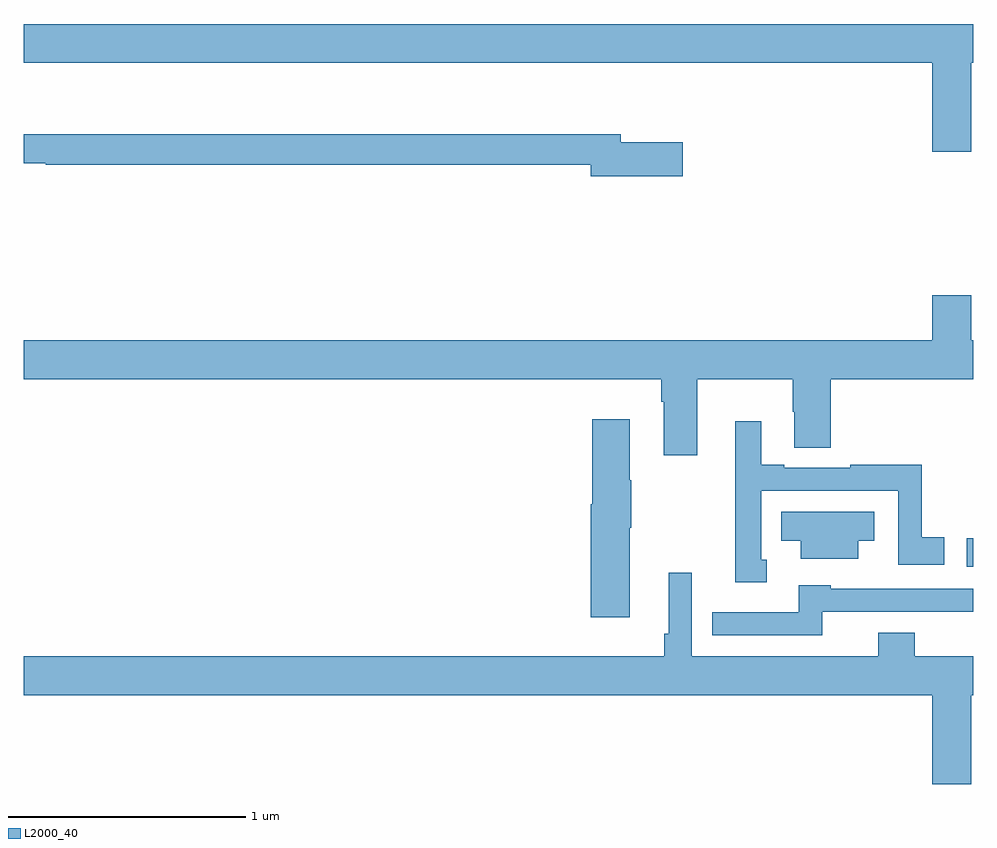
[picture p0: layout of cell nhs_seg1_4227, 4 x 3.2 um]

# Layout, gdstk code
import gdstk
lib = gdstk.Library(unit=1e-6, precision=1e-09)
def R(c, l, rs):  # rectangles x0, y0, x1, y1
    for r in rs: c.add(gdstk.rectangle(r[:2], r[2:], *l))
def P(c, l, *ps):  # polygons
    for p in ps: c.add(gdstk.Polygon(p, *l))
L2000_40 = (2000, 40)

nhs_seg1_4227 = lib.new_cell('nhs_seg1_4227')
R(nhs_seg1_4227, L2000_40, [(344.973,541.617,345,541.737)])
P(nhs_seg1_4227, L2000_40, [(344.992,543.74),(345,543.74),(345,543.904),(341,543.904),(341,543.74),(344.828,543.74),(344.828,543.366),(344.992,543.366)],
  [(343.777,543.405),(343.516,543.405),(343.516,543.439),(341,543.439),(341,543.318),(341.092,543.318),(341.092,543.31),(343.388,543.31),(343.388,543.263),(343.777,543.263)],
  [(343.837,542.408),(344.239,542.408),(344.239,542.27),(344.246,542.27),(344.246,542.119),(344.399,542.119),(344.399,542.408),(345,542.408),(345,542.572),(344.992,542.572),(344.992,542.761),(344.828,542.761),(344.828,542.572),(341,542.572),(341,542.408),(343.685,542.408),(343.685,542.312),(343.697,542.312),(343.697,542.088),(343.837,542.088)],
  [(343.552,541.781),(343.56,541.781),(343.56,541.981),(343.552,541.981),(343.552,542.239),(343.394,542.239),(343.394,541.881),(343.388,541.881),(343.388,541.404),(343.552,541.404)],
  [(344.131,541.647),(344.106,541.647),(344.106,541.938),(344.685,541.938),(344.685,541.626),(344.878,541.626),(344.878,541.742),(344.784,541.742),(344.784,542.047),(344.482,542.047),(344.482,542.034),(344.203,542.034),(344.203,542.047),(344.107,542.047),(344.107,542.23),(343.997,542.23),(343.997,541.985),(343.998,541.985),(343.998,541.553),(344.131,541.553)],
  [(344.515,541.727),(344.584,541.727),(344.584,541.849),(344.191,541.849),(344.191,541.727),(344.273,541.727),(344.273,541.652),(344.515,541.652)],
  [(344.992,541.076),(345,541.076),(345,541.24),(344.753,541.24),(344.753,541.339),(344.6,541.339),(344.6,541.24),(343.815,541.24),(343.815,541.591),(343.718,541.591),(343.718,541.336),(343.699,541.336),(343.699,541.24),(341,541.24),(341,541.076),(344.828,541.076),(344.828,540.702),(344.992,540.702)],
  [(344.364,541.428),(344.836,541.428),(344.836,541.427),(345,541.427),(345,541.524),(344.4,541.524),(344.4,541.54),(344.264,541.54),(344.264,541.425),(343.9,541.425),(343.9,541.329),(344.364,541.329)])

lib.write_gds('nhs_seg1_4227.gds')
